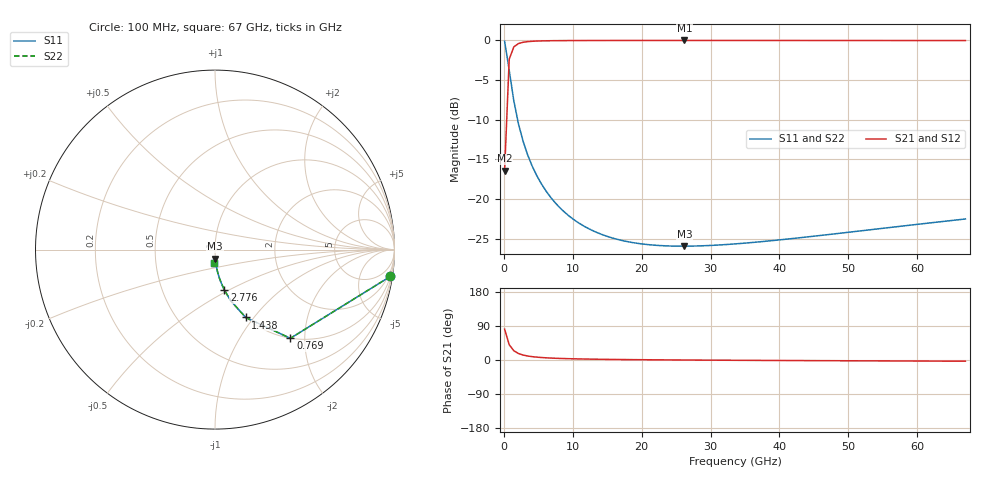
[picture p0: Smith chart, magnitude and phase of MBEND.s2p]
! Touchstone Ver. 1.0
! Number of ports is 2
# Hz  S RI  R  50
! SCATTERING PARAMETERS  :
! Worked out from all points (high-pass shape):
!   101 points, 100 MHz to 67 GHz, reference 50 ohm
!   highest |S21| = -0.01 dB at 26.19 GHz (marker M1); lowest = -16.4 dB at 100 MHz (marker M2)
!   |S21| within 3 dB of the highest: 738.5 MHz to end of sweep
!   lowest |S11| = -25.9 dB at 26.19 GHz (marker M3), VSWR 1.11, Z = 49.7 - j5.03 ohm
!   |S11| at or under -10 dB: 1.99 GHz to end of sweep
!   |S22| runs from -25.9 to -0.1 dB; largest |S21 - S12| = 0
!   S11 on the Smith chart (normalised r, x): 100 MHz: 1, -13; 769 MHz: 1.00, -1.70; 1.438 GHz: 1.00, -0.91; 2.776 GHz: 1.00, -0.48; 67 GHz: 0.98, -0.15
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1e8  0.9772 -0.1495  0.0228 0.1493  0.0228 0.1493  0.9772 -0.1495
7.69e8  0.4198 -0.4943  0.5802 0.4928  0.5802 0.4928  0.4198 -0.4943
1.438e9  0.1714 -0.3783  0.8286 0.3755  0.8286 0.3755  0.1714 -0.3783
2.107e9  0.0879 -0.2852  0.9121 0.2811  0.9121 0.2811  0.0879 -0.2852
2.776e9  0.0526 -0.2259  0.9474 0.2205  0.9474 0.2205  0.0526 -0.2259
3.445e9  0.0348 -0.1866  0.9652 0.1799  0.9652 0.1799  0.0348 -0.1866
4.114e9  0.0246 -0.1591  0.9753 0.1511  0.9753 0.1511  0.0246 -0.1591
4.783e9  0.0183 -0.1389  0.9816 0.1296  0.9816 0.1296  0.0183 -0.1389
6.121e9  0.0113 -0.1116  0.9887 0.0997  0.9887 0.0997  0.0113 -0.1116
7.459e9  0.00758 -0.0943  0.9923 0.0798  0.9923 0.0798  0.00758 -0.0943
8.797e9  0.00543 -0.0825  0.9944 0.0654  0.9944 0.0654  0.00543 -0.0825
1.0135e10  0.00405 -0.0741  0.9958 0.0544  0.9958 0.0544  0.00405 -0.0741
1.1473e10  0.00312 -0.068  0.9966 0.0457  0.9966 0.0457  0.00312 -0.068
1.348e10  0.00218 -0.0615  0.9975 0.0353  0.9975 0.0353  0.00218 -0.0615
1.6156e10  0.00139 -0.0562  0.9981 0.0247  0.9981 0.0247  0.00139 -0.0562
1.9501e10  0.000763 -0.0525  0.9985 0.0145  0.9985 0.0145  0.000763 -0.0525
2.2846e10  0.000324 -0.0509  0.9987 0.00636  0.9987 0.00636  0.000324 -0.0509
2.6191e10  -2.75e-05 -0.0505  0.9987 -0.000544  0.9987 -0.000544  -2.75e-05 -0.0505
3.355e10  -0.000688 -0.0521  0.9986 -0.0132  0.9986 -0.0132  -0.000688 -0.0521
4.4923e10  -0.0017 -0.0582  0.9979 -0.0291  0.9979 -0.0291  -0.0017 -0.0582
5.6296e10  -0.00286 -0.0663  0.9969 -0.0431  0.9969 -0.0431  -0.00286 -0.0663
6.7e10  -0.00415 -0.0748  0.9957 -0.0552  0.9957 -0.0552  -0.00415 -0.0748
